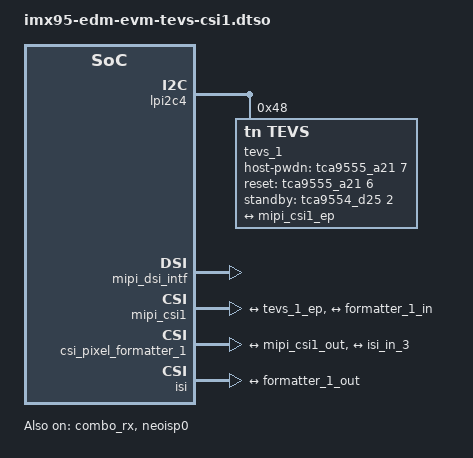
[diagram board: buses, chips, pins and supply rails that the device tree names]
// SPDX-License-Identifier: (GPL-2.0 OR MIT)
/*
 * Vision Overlay for Direct TechNexion TEVS Camera on CSI1
 * Note: Disables Display Stream/Master CSR to enable Combo RX on CSI1
 *
 * Copyright 2024 TechNexion Ltd.
 *
 * Author: Richard Hu <richard.hu@technexion.com>
 *
 */

/dts-v1/;
/plugin/;

#include <dt-bindings/gpio/gpio.h>


/* TEVS on MIPI CSI1 */
&lpi2c4 {
	#address-cells = <1>;
	#size-cells = <0>;
	status = "okay";

	tevs_1: tevs@48 {
		compatible = "tn,tevs";
		reg = <0x48>;
		status = "okay";

		host-pwdn-gpios = <&tca9555_a21 7 GPIO_ACTIVE_HIGH>;
		reset-gpios = <&tca9555_a21 6 GPIO_ACTIVE_HIGH>;
		standby-gpios = <&tca9554_d25 2 GPIO_ACTIVE_HIGH>;

		port {
			tevs_1_ep: endpoint {
				remote-endpoint = <&mipi_csi1_ep>;
				data-lanes = <1 2 3 4>;
				clock-lanes = <0>;
				clock-noncontinuous;
				link-frequencies = /bits/ 64 <400000000>;
			};
		};
	};
};

&display_stream_csr {
	status = "disabled";
};

&display_master_csr {
	status = "disabled";
};

&mipi_tx_phy_csr {
	status = "disabled";
};

&mipi_dsi_intf {
	status = "okay";
};

&combo_rx {
	status = "okay";
};

&neoisp0 {
	status = "okay";
};

&mipi_csi1 {
	status = "okay";

	ports {
		#address-cells = <1>;
		#size-cells = <0>;

		port@0 {
			reg = <0>;
			mipi_csi1_ep: endpoint {
				remote-endpoint = <&tevs_1_ep>;
				data-lanes = <1 2 3 4>;
				clock-lanes = <0>;
			};
		};

		port@1 {
			reg = <1>;
			mipi_csi1_out: endpoint {
				remote-endpoint = <&formatter_1_in>;
			};
		};
	};
};

&csi_pixel_formatter_1 {
	status = "okay";

	ports {
		#address-cells = <1>;
		#size-cells = <0>;

		port@0 {
			reg = <0>;

			formatter_1_in: endpoint {
				remote-endpoint = <&mipi_csi1_out>;
			};
		};

		port@1 {
			reg = <1>;

			formatter_1_out: endpoint {
				remote-endpoint = <&isi_in_3>;
			};
		};
	};
};

&isi {
	status = "okay";

	ports {
		#address-cells = <1>;
		#size-cells = <0>;

		port@3 {
			reg = <3>;

			isi_in_3: endpoint {
				remote-endpoint = <&formatter_1_out>;
			};
		};
	};
};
